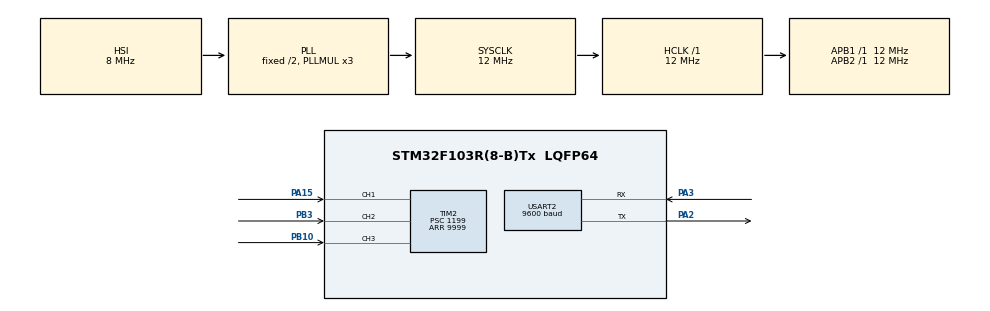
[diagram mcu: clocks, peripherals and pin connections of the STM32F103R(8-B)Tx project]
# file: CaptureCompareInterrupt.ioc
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Mcu.Family=STM32F1
Mcu.Name=STM32F103R(8-B)Tx
Mcu.Package=LQFP64
NVIC.PriorityGroup=NVIC_PRIORITYGROUP_4
NVIC.TIM2_IRQn=true\:0\:0\:false\:false\:true\:true\:true\:true
PA13.Mode=Serial_Wire
PA13.Signal=SYS_JTMS-SWDIO
PA14.Mode=Serial_Wire
PA14.Signal=SYS_JTCK-SWCLK
PA15.Signal=S_TIM2_CH1_ETR
PA2.Mode=Asynchronous
PA2.Signal=USART2_TX
PA3.Mode=Asynchronous
PA3.Signal=USART2_RX
PB10.Signal=S_TIM2_CH3
PB3.Signal=S_TIM2_CH2
PD0-OSC_IN.Mode=HSE-External-Oscillator
PD0-OSC_IN.Signal=RCC_OSC_IN
PD1-OSC_OUT.Mode=HSE-External-Oscillator
PD1-OSC_OUT.Signal=RCC_OSC_OUT
ProjectManager.HeapSize=0x200
ProjectManager.StackSize=0x400
ProjectManager.TargetToolchain=MDK-ARM V5.32
RCC.AHBFreq_Value=12000000
RCC.APB1Freq_Value=12000000
RCC.APB1TimFreq_Value=12000000
RCC.APB2Freq_Value=12000000
RCC.APB2TimFreq_Value=12000000
RCC.HCLKFreq_Value=12000000
RCC.PLLMUL=RCC_PLL_MUL3
RCC.SYSCLKFreq_VALUE=12000000
RCC.SYSCLKSource=RCC_SYSCLKSOURCE_PLLCLK
RCC.USBFreq_Value=12000000
SH.S_TIM2_CH1_ETR.0=TIM2_CH1,Input_Capture1_from_TI1
SH.S_TIM2_CH2.0=TIM2_CH2,Input_Capture2_from_TI2
SH.S_TIM2_CH3.0=TIM2_CH3,Input_Capture3_from_TI3
TIM2.Channel-Input_Capture1_from_TI1=TIM_CHANNEL_1
TIM2.Channel-Input_Capture2_from_TI2=TIM_CHANNEL_2
TIM2.Channel-Input_Capture3_from_TI3=TIM_CHANNEL_3
TIM2.Period=9999
TIM2.Prescaler=1199
TIM3.Prescaler=11
USART2.BaudRate=9600
USART2.VirtualMode=VM_ASYNC
VP_TIM2_VS_ClockSourceINT.Mode=Internal
VP_TIM2_VS_XOR.Mode=XOR_enable
VP_TIM3_VS_ClockSourceINT.Mode=Internal
board=custom

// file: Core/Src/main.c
/* USER CODE BEGIN Header */
/**
  ******************************************************************************
  * @file           : main.c
  * @brief          : Main program body
  ******************************************************************************
  * @attention
  *
  * Copyright (c) 2024 STMicroelectronics.
  * All rights reserved.
  *
  * This software is licensed under terms that can be found in the LICENSE file
  * in the root directory of this software component.
  * If no LICENSE file comes with this software, it is provided AS-IS.
  *
  ******************************************************************************
  */
/* USER CODE END Header */
#include "main.h"
#include "tim.h"
#include "usart.h"
#include "gpio.h"

/* USER CODE BEGIN Includes */
#include <stdio.h>
#include "hall.h"
/* USER CODE END Includes */

/* USER CODE BEGIN PTD */
extern long pulse_diff;
/* USER CODE END PTD */

void SystemClock_Config(void);

/* USER CODE BEGIN 0 */
void HAL_TIM_IC_CaptureCallback(TIM_HandleTypeDef *htim)
{
	if(htim->Instance == TIM2)
	{
		if (htim->Channel == HAL_TIM_ACTIVE_CHANNEL_1)
		{
			updateState();
		}

	}
}
/* USER CODE END 0 */

int main(void)
{

  /* MCU Configuration--------------------------------------------------------*/

  /* Reset of all peripherals, Initializes the Flash interface and the Systick. */
  HAL_Init();

  /* Configure the system clock */
  SystemClock_Config();

  /* Initialize all configured peripherals */
  MX_GPIO_Init();
  MX_TIM2_Init();
  MX_USART2_UART_Init();
  MX_TIM3_Init();
  /* USER CODE BEGIN 2 */
	HAL_TIM_Base_Start(&htim3);

	TIM_SlaveConfigTypeDef SlaveConfig;
	SlaveConfig.SlaveMode =  TIM_SLAVEMODE_DISABLE;
	SlaveConfig.InputTrigger = TIM_TS_TI1F_ED;
	SlaveConfig.TriggerPolarity = TIM_TRIGGERPOLARITY_BOTHEDGE;
	HAL_TIM_SlaveConfigSynchronization(&htim2, &SlaveConfig);

//	HAL_TIM_IC_Start(&htim2,TIM_CHANNEL_1);
//	__HAL_TIM_ENABLE(&htim2);

	HAL_TIM_Base_Start_IT(&htim2);
	HAL_TIM_IC_Start_IT(&htim2, TIM_CHANNEL_1);

	SysTick_Config(16777215);  // 设置SysTick重装载值,最大值16777215

	printf("ready\r\n");
  /* USER CODE END 2 */

  /* Infinite loop */
  while (1)
  {

    /* USER CODE BEGIN 3 */
	  //不能用HAL_Delay()
	  //printf("angle :%f  velocity :%f\r\n",getAngle(),getVelocity());
	  printf("angle_1 :%f   angle_2 :%f\r\n",_normalizeAngle(_normalizeAngle(getAngle())*7),_normalizeAngle(getAngle()*7));
	  //printf("val value:%ld\r\n",pulse_diff);//SysTick->VAL  pulse_diff
  }
  /* USER CODE END 3 */
}

void SystemClock_Config(void)
{
  RCC_OscInitTypeDef RCC_OscInitStruct = {0};
  RCC_ClkInitTypeDef RCC_ClkInitStruct = {0};

  /** Initializes the RCC Oscillators according to the specified parameters
  * in the RCC_OscInitTypeDef structure.
  */
  RCC_OscInitStruct.OscillatorType = RCC_OSCILLATORTYPE_HSI;
  RCC_OscInitStruct.HSIState = RCC_HSI_ON;
  RCC_OscInitStruct.HSICalibrationValue = RCC_HSICALIBRATION_DEFAULT;
  RCC_OscInitStruct.PLL.PLLState = RCC_PLL_ON;
  RCC_OscInitStruct.PLL.PLLSource = RCC_PLLSOURCE_HSI_DIV2;
  RCC_OscInitStruct.PLL.PLLMUL = RCC_PLL_MUL3;
  if (HAL_RCC_OscConfig(&RCC_OscInitStruct) != HAL_OK)
  {
    Error_Handler();
  }

  /** Initializes the CPU, AHB and APB buses clocks
  */
  RCC_ClkInitStruct.ClockType = RCC_CLOCKTYPE_HCLK|RCC_CLOCKTYPE_SYSCLK
                              |RCC_CLOCKTYPE_PCLK1|RCC_CLOCKTYPE_PCLK2;
  RCC_ClkInitStruct.SYSCLKSource = RCC_SYSCLKSOURCE_PLLCLK;
  RCC_ClkInitStruct.AHBCLKDivider = RCC_SYSCLK_DIV1;
  RCC_ClkInitStruct.APB1CLKDivider = RCC_HCLK_DIV1;
  RCC_ClkInitStruct.APB2CLKDivider = RCC_HCLK_DIV1;

  if (HAL_RCC_ClockConfig(&RCC_ClkInitStruct, FLASH_LATENCY_0) != HAL_OK)
  {
    Error_Handler();
  }
}

void Error_Handler(void)
{
  __disable_irq();
  while (1)
  {
  }
}
